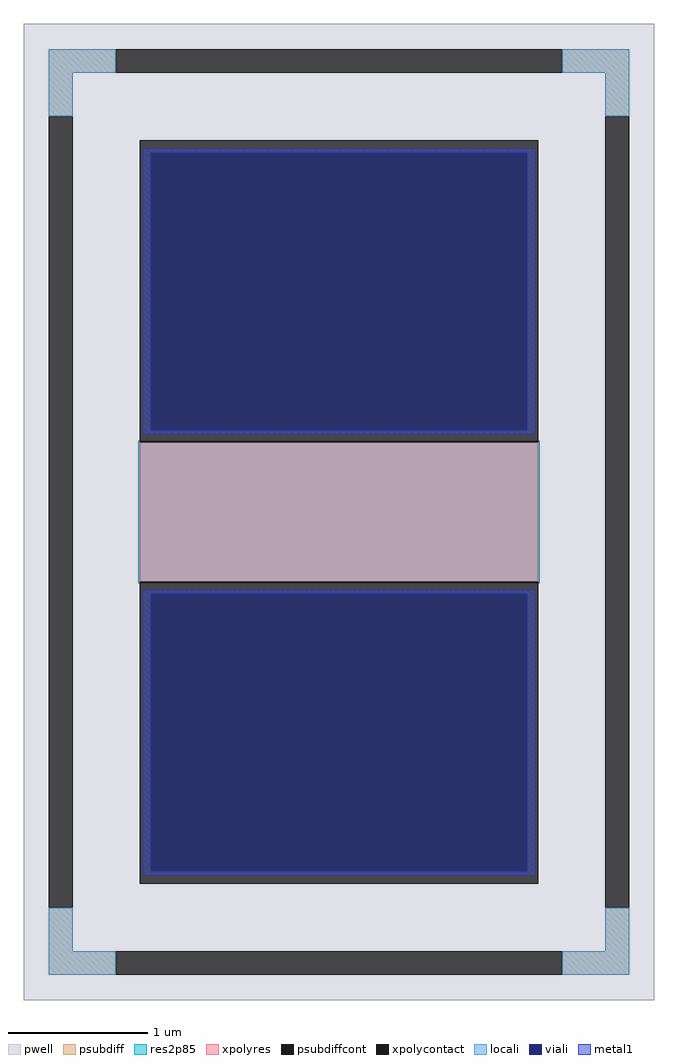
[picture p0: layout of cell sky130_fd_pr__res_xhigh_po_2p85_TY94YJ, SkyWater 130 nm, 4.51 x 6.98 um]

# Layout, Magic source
magic
tech sky130A
magscale 1 2
<< pwell >>
rect -451 -698 451 698
<< psubdiff >>
rect -415 628 -319 662
rect 319 628 415 662
rect -415 566 -381 628
rect 381 566 415 628
rect -415 -628 -381 -566
rect 381 -628 415 -566
rect -415 -662 -319 -628
rect 319 -662 415 -628
<< psubdiffcont >>
rect -319 628 319 662
rect -415 -566 -381 566
rect 381 -566 415 566
rect -319 -662 319 -628
<< xpolycontact >>
rect -285 100 285 532
rect -285 -532 285 -100
<< xpolyres >>
rect -285 -100 285 100
<< locali >>
rect -415 628 -319 662
rect 319 628 415 662
rect -415 566 -381 628
rect 381 566 415 628
rect -415 -628 -381 -566
rect 381 -628 415 -566
rect -415 -662 -319 -628
rect 319 -662 415 -628
<< viali >>
rect -269 117 269 514
rect -269 -514 269 -117
<< metal1 >>
rect -281 514 281 520
rect -281 117 -269 514
rect 269 117 281 514
rect -281 111 281 117
rect -281 -117 281 -111
rect -281 -514 -269 -117
rect 269 -514 281 -117
rect -281 -520 281 -514
<< res2p85 >>
rect -287 -102 287 102
<< properties >>
string FIXED_BBOX -398 -645 398 645
string gencell sky130_fd_pr__res_xhigh_po_2p85
string library sky130
string parameters w 2.850 l 1 m 1 nx 1 wmin 2.850 lmin 0.50 rho 2000 val 833.824 dummy 0 dw 0.0 term 188.2 sterm 0.0 caplen 0 wmax 2.850 guard 1 glc 1 grc 1 gtc 1 gbc 1 compatible {sky130_fd_pr__res_xhigh_po_0p35  sky130_fd_pr__res_xhigh_po_0p69 sky130_fd_pr__res_xhigh_po_1p41  sky130_fd_pr__res_xhigh_po_2p85 sky130_fd_pr__res_xhigh_po_5p73} full_metal 1 n_guard 0 hv_guard 0 vias 1 viagb 0 viagt 0 viagl 0 viagr 0
<< end >>
